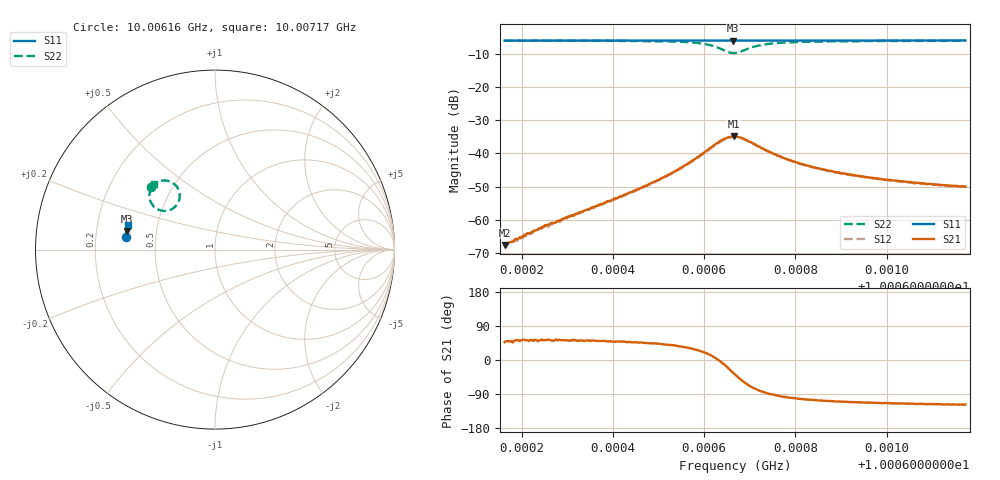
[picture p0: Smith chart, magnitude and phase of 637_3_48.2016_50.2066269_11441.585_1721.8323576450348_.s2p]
#  HZ  S  RI  R  50.00
! Rohde & Schwarz Vector Network Analyzer
! Rohde-Schwarz,ZNB20-2Port,1311601062101988,3.16
! Created: UTC 3/20/2024, 12:04:40 PM
! freq[Hz]  re:S11  im:S11  re:S21  im:S21  re:S12  im:S12  re:S22  im:S22
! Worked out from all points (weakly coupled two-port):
!   401 points, 10.00616 GHz to 10.00717 GHz, reference 50 ohm
!   highest |S21| = -34.85 dB at 10.00667 GHz (marker M1); lowest = -67.6 dB at 10.00616 GHz (marker M2)
!   lowest |S11| = -6.0 dB at 10.00666 GHz (marker M3), VSWR 3.02, Z = 16.7 + j4.58 ohm
!   |S11| at or under -10 dB: nowhere
!   |S22| runs from -9.7 to -6.0 dB; largest |S21 - S12| = 0.0013
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1.0006162e10  -0.4986 0.0706  0.000285 0.000307  0.000261 0.000315  -0.3591 0.3467
1.0006172e10  -0.4984 0.0715  0.000295 0.00034  0.000252 0.000347  -0.3583 0.3474
1.000621e10  -0.4981 0.0738  0.000375 0.000482  0.000327 0.000482  -0.3557 0.3501
1.0006256e10  -0.4978 0.0769  0.000505 0.00067  0.000452 0.000637  -0.3521 0.3538
1.0006271e10  -0.4975 0.0778  0.000558 0.000699  0.000518 0.000735  -0.3507 0.3551
1.0006332e10  -0.497 0.0819  0.000812 0.00105  0.000781 0.00105  -0.3449 0.3604
1.0006412e10  -0.4962 0.087  0.00145 0.00165  0.0013 0.00167  -0.3342 0.3685
1.0006501e10  -0.4953 0.093  0.00293 0.00275  0.00276 0.00283  -0.3132 0.3795
1.0006554e10  -0.4945 0.0965  0.00526 0.0036  0.00492 0.00384  -0.2877 0.3852
1.0006604e10  -0.4936 0.0999  0.0104 0.00336  0.00987 0.00383  -0.2379 0.3734
1.000664e10  -0.4924 0.1017  0.0161 -0.00215  0.0156 -0.00119  -0.1968 0.3118
1.0006663e10  -0.492 0.1024  0.0152 -0.00969  0.0155 -0.00848  -0.2176 0.2436
1.0006665e10  -0.492 0.1024  0.0147 -0.0105  0.015 -0.00934  -0.2236 0.2374
1.0006668e10  -0.4921 0.1025  0.014 -0.0112  0.0146 -0.00996  -0.2303 0.232
1.000669e10  -0.4923 0.1034  0.00788 -0.0141  0.0086 -0.0134  -0.2955 0.2166
1.0006726e10  -0.4926 0.1059  0.00153 -0.0119  0.00211 -0.0117  -0.3508 0.2524
1.0006781e10  -0.4923 0.1097  -0.0012 -0.00813  -0.000759 -0.00809  -0.3654 0.2985
1.0006837e10  -0.4917 0.1134  -0.00166 -0.00607  -0.00136 -0.00605  -0.3629 0.3219
1.000691e10  -0.4908 0.1183  -0.00171 -0.00463  -0.00146 -0.00463  -0.3567 0.3393
1.0007006e10  -0.4895 0.1243  -0.00158 -0.00365  -0.00141 -0.00367  -0.3491 0.3526
1.0007064e10  -0.4887 0.1281  -0.00156 -0.00325  -0.00141 -0.00324  -0.3448 0.3585
1.0007173e10  -0.487 0.1349  -0.00146 -0.0028  -0.00132 -0.00282  -0.3377 0.3674
